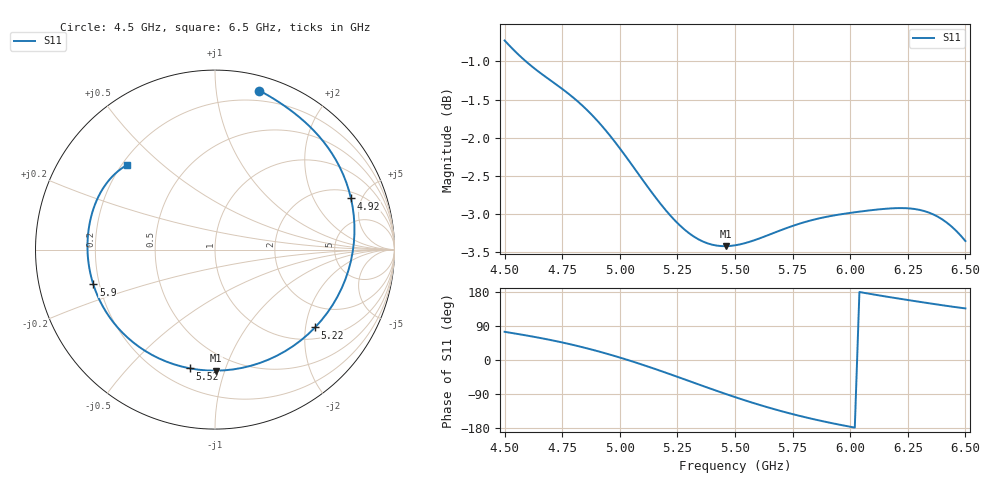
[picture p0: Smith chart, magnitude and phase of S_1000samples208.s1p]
! TOUCHSTONE file generated by CST MICROWAVE STUDIO
! Date and time: Thu Oct 27 09:26:51 2022
! Project name: L.cst
! Parameters = {Di=1.27; Epsilon_r=1.56; InnerDiameter=1.27; Length=2; Lf=10; Lg=60; OuterConductorThickness=0.2921; OuterDiameter=3.6; Wf=3; Wp=41.2; de=1.5; df=6.8; g=0.8; gx=4.73764; gy=0.540389; h=2.34; hf=1.524; px=12.8311; py=8.57719; w=9.7; wx=8.09344; wy=8.0368}
! Header version: 2018
! Port assignment regex: !\s*Touchstone port\s*([0-9]+)\s*=\s*(CST MWS port|CST DS port)\s*([0-9]+|Zmin|Zmax)\s*\(\"(.*)\"\)(\s*mode\s*([0-9]+))?.*
! Touchstone port assignment:
! Touchstone port 1 = CST MWS port 1 ("")
# GHz S DB R 50
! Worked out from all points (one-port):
!   101 points, 4.5 GHz to 6.5 GHz, reference 50 ohm
!   lowest |S11| = -3.4 dB at 5.46 GHz (marker M1), VSWR 5.15, Z = 18.8 - j46.6 ohm
!   |S11| at or under -10 dB: nowhere
!   S11 on the Smith chart (normalised r, x): 4.5 GHz: 0.11, +1.31; 4.92 GHz: 2.46, +4.07; 5.22 GHz: 1.31, -2.26; 5.52 GHz: 0.31, -0.76; 5.9 GHz: 0.18, -0.14; 6.5 GHz: 0.22, +0.39
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4.5  -0.73 74.4
4.64  -1.12 59.8
4.76  -1.38 44.9
4.84  -1.59 33.5
4.92  -1.84 20.6
5  -2.14 6.5
5.06  -2.39 -4.9
5.1  -2.56 -12.8
5.16  -2.80 -25.1
5.22  -3.02 -37.9
5.26  -3.15 -46.5
5.32  -3.29 -59.6
5.36  -3.36 -68.3
5.4  -3.40 -77.0
5.46  -3.42 -89.7
5.5  -3.41 -97.9
5.52  -3.40 -101.9
5.58  -3.35 -113.5
5.64  -3.28 -124.5
5.7  -3.21 -134.8
5.76  -3.14 -144.3
5.82  -3.09 -153.2
5.9  -3.03 -164.0
6  -2.98 -176.1
6.12  -2.94 171.0
6.26  -2.93 157.4
6.38  -3.03 146.3
6.5  -3.35 136.1
